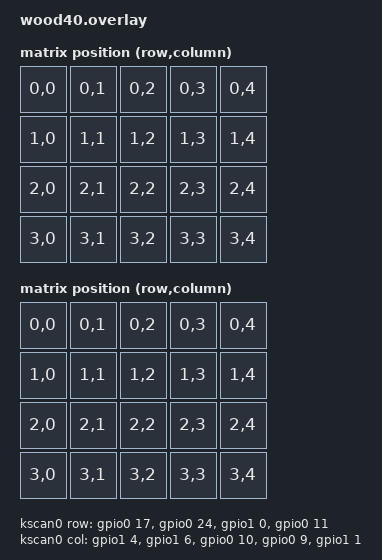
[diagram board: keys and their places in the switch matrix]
#include <dt-bindings/gpio/gpio.h>
#include <dt-bindings/zmk/matrix_transform.h>

/ {
    chosen {
        zmk,kscan = &kscan0;
#if defined(CONFIG_ZMK_SPLIT_ROLE_CENTRAL)
    zmk,transform = &transform_right;
#else
    zmk,transform = &transform_left;
#endif
    };

    kscan0: kscan {
        compatible = "zmk,kscan-gpio-matrix";
        label = "kscan0";
        diode-direction = "col2row";

        row-gpios = <&gpio0 17 (GPIO_ACTIVE_HIGH | GPIO_PULL_DOWN)>,
                    <&gpio0 24 (GPIO_ACTIVE_HIGH | GPIO_PULL_DOWN)>,
                    <&gpio1  0 (GPIO_ACTIVE_HIGH | GPIO_PULL_DOWN)>,
                    <&gpio0 11 (GPIO_ACTIVE_HIGH | GPIO_PULL_DOWN)>;

        col-gpios = <&gpio1  4 GPIO_ACTIVE_HIGH>,
                    <&gpio1  6 GPIO_ACTIVE_HIGH>,
                    <&gpio0 10 GPIO_ACTIVE_HIGH>,
                    <&gpio0  9 GPIO_ACTIVE_HIGH>,
                    <&gpio1  1 GPIO_ACTIVE_HIGH>;
    };

    transform_left: matrix_transform_left {
        compatible = "zmk,matrix-transform";
        label = "transform_left";
        rows = <4>;
        columns = <5>;
        map = <
            RC(0,0) RC(0,1) RC(0,2) RC(0,3) RC(0,4)
            RC(1,0) RC(1,1) RC(1,2) RC(1,3) RC(1,4)
            RC(2,0) RC(2,1) RC(2,2) RC(2,3) RC(2,4)
            RC(3,0) RC(3,1) RC(3,2) RC(3,3) RC(3,4)
        >;
    };

    transform_right: matrix_transform_right {
        compatible = "zmk,matrix-transform";
        label = "transform_right";
        rows = <4>;
        columns = <5>;
        map = <
            RC(0,0) RC(0,1) RC(0,2) RC(0,3) RC(0,4)
            RC(1,0) RC(1,1) RC(1,2) RC(1,3) RC(1,4)
            RC(2,0) RC(2,1) RC(2,2) RC(2,3) RC(2,4)
            RC(3,0) RC(3,1) RC(3,2) RC(3,3) RC(3,4)
        >;
    };
};
